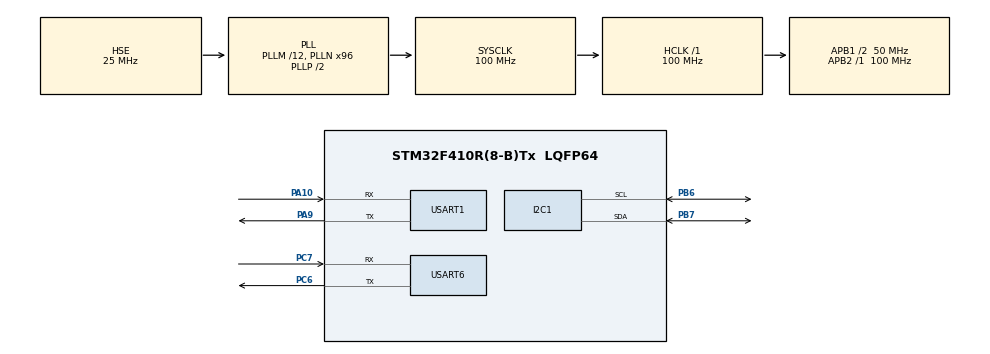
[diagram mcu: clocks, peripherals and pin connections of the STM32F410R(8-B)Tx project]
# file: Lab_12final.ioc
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Mcu.Family=STM32F4
Mcu.Name=STM32F410R(8-B)Tx
Mcu.Package=LQFP64
NVIC.PriorityGroup=NVIC_PRIORITYGROUP_4
PA10.Mode=Asynchronous
PA10.Signal=USART1_RX
PA13.Mode=Serial_Wire
PA13.Signal=SYS_JTMS-SWDIO
PA14.Mode=Serial_Wire
PA14.Signal=SYS_JTCK-SWCLK
PA9.Mode=Asynchronous
PA9.Signal=USART1_TX
PB6.GPIO_Pu=GPIO_PULLUP
PB6.Mode=I2C
PB6.Signal=I2C1_SCL
PB7.GPIO_Pu=GPIO_PULLUP
PB7.Mode=I2C
PB7.Signal=I2C1_SDA
PC6.Mode=Asynchronous
PC6.Signal=USART6_TX
PC7.Mode=Asynchronous
PC7.Signal=USART6_RX
PH0\ -\ OSC_IN.Mode=HSE-External-Clock-Source
PH0\ -\ OSC_IN.Signal=RCC_OSC_IN
PH1\ -\ OSC_OUT.Mode=HSE-External-Clock-Source
PH1\ -\ OSC_OUT.Signal=RCC_OSC_OUT
ProjectManager.HeapSize=0x200
ProjectManager.StackSize=0x400
ProjectManager.TargetToolchain=MDK-ARM V5.32
RCC.48MHZClocksFreq_Value=50000000
RCC.AHBFreq_Value=100000000
RCC.APB1CLKDivider=RCC_HCLK_DIV2
RCC.APB1Freq_Value=50000000
RCC.APB1TimFreq_Value=100000000
RCC.APB2Freq_Value=100000000
RCC.APB2TimFreq_Value=100000000
RCC.CortexFreq_Value=100000000
RCC.HCLKFreq_Value=100000000
RCC.HSE_VALUE=25000000
RCC.HSI_VALUE=16000000
RCC.LSE_VALUE=32768
RCC.PLLM=12
RCC.PLLN=96
RCC.PLLSourceVirtual=RCC_PLLSOURCE_HSE
RCC.SYSCLKFreq_VALUE=100000000
RCC.SYSCLKSource=RCC_SYSCLKSOURCE_PLLCLK
RCC.VCOOutputFreq_Value=200000000
USART1.VirtualMode=VM_ASYNC
USART6.VirtualMode=VM_ASYNC
board=custom

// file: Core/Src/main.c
/* USER CODE BEGIN Header */
/**
  ******************************************************************************
  * @file           : main.c
  * @brief          : Main program body
  ******************************************************************************
  * @attention
  *
  * Copyright (c) 2026 STMicroelectronics.
  * All rights reserved.
  *
  * This software is licensed under terms that can be found in the LICENSE file
  * in the root directory of this software component.
  * If no LICENSE file comes with this software, it is provided AS-IS.
  *
  ******************************************************************************
  */
/* USER CODE END Header */
#include "main.h"

/* USER CODE BEGIN Includes */

#include "bme280.h"
#include "bme280_defs.h"
#include <stdio.h>
#include <string.h>

/* USER CODE END Includes */

I2C_HandleTypeDef hi2c1;

UART_HandleTypeDef huart1;
UART_HandleTypeDef huart6;

/* USER CODE BEGIN PV */

struct bme280_dev bme;
struct bme280_data comp_data;
struct bme280_settings settings;

uint16_t bme_address;

HAL_StatusTypeDef test76, test77;
uint32_t error76, error77;
GPIO_PinState scl_level, sda_level;

/* USER CODE END PV */

void SystemClock_Config(void);
static void MX_GPIO_Init(void);
static void MX_I2C1_Init(void);
static void MX_USART1_UART_Init(void);
static void MX_USART6_UART_Init(void);

/* USER CODE BEGIN 0 */

int8_t user_i2c_read(uint8_t reg_addr,
                     uint8_t *reg_data,
                     uint32_t len,
                     void *intf_ptr)
{
    HAL_StatusTypeDef status;

    status = HAL_I2C_Mem_Read(&hi2c1,
                              bme_address,
                              reg_addr,
                              I2C_MEMADD_SIZE_8BIT,
                              reg_data,
                              (uint16_t)len,
                              1000);

    return (status == HAL_OK) ? 0 : -1;
}

int8_t user_i2c_write(uint8_t reg_addr,
                      const uint8_t *reg_data,
                      uint32_t len,
                      void *intf_ptr)
{
    HAL_StatusTypeDef status;

    status = HAL_I2C_Mem_Write(&hi2c1,
                               bme_address,
                               reg_addr,
                               I2C_MEMADD_SIZE_8BIT,
                               (uint8_t *)reg_data,
                               (uint16_t)len,
                               1000);

    return (status == HAL_OK) ? 0 : -1;
}

void user_delay_us(uint32_t period, void *intf_ptr)
{
    HAL_Delay((period + 999) / 1000);
}

int8_t BME280_Init(void)
{
    int8_t rslt;

    // Detect I2C address
    if (HAL_I2C_IsDeviceReady(&hi2c1,
                              0x76 << 1,
                              3,
                              100) == HAL_OK)
    {
        bme_address = 0x76 << 1;
    }
    else if (HAL_I2C_IsDeviceReady(&hi2c1,
                                   0x77 << 1,
                                   3,
                                   100) == HAL_OK)
    {
        bme_address = 0x77 << 1;
    }
    else
    {
        return -1;
    }

    // Configure Bosch API interface
    bme.intf = BME280_I2C_INTF;
    bme.read = user_i2c_read;
    bme.write = user_i2c_write;
    bme.delay_us = user_delay_us;
    bme.intf_ptr = NULL;

    // Initialize sensor and read calibration data
    rslt = bme280_init(&bme);

    if (rslt != BME280_OK)
        return rslt;

    // Configure oversampling
    settings.osr_t = BME280_OVERSAMPLING_2X;
    settings.osr_p = BME280_OVERSAMPLING_16X;
    settings.osr_h = BME280_OVERSAMPLING_1X;

    // Configure filter and standby
    settings.filter = BME280_FILTER_COEFF_16;
    settings.standby_time = BME280_STANDBY_TIME_1000_MS;

    // Write configuration
    rslt = bme280_set_sensor_settings(
        BME280_SEL_ALL_SETTINGS,
        &settings,
        &bme
    );

    if (rslt != BME280_OK)
        return rslt;

    // Normal operating mode
    rslt = bme280_set_sensor_mode(
        BME280_POWERMODE_NORMAL,
        &bme
    );

    return rslt;
}

int8_t BME280_Read(void)
{
    return bme280_get_sensor_data(
        BME280_ALL,
        &comp_data,
        &bme
    );
}

void BME280_Print(void)
{
    char msg[200];

    int32_t temp = comp_data.temperature;

    uint32_t pressure = comp_data.pressure;

    uint32_t humidity =
        ((uint64_t)comp_data.humidity * 100 + 512) / 1024;

    int32_t temp_frac = temp % 100;

    if (temp_frac < 0)
        temp_frac = -temp_frac;

    snprintf(msg, sizeof(msg),
        "Temperature: %s%ld.%02ld C\r\n"
        "Pressure: %lu.%02lu hPa\r\n"
        "Humidity: %lu.%02lu %%RH\r\n"
        "-----------------------------\r\n",

        temp < 0 ? "-" : "",
        (long)(temp < 0 ? -(temp / 100) : temp / 100),
        (long)temp_frac,

        (unsigned long)(pressure / 10000),
        (unsigned long)((pressure % 10000) / 100),

        (unsigned long)(humidity / 100),
        (unsigned long)(humidity % 100)
    );

    HAL_UART_Transmit(&huart1,
                      (uint8_t *)msg,
                      strlen(msg),
                      HAL_MAX_DELAY);
}

/* USER CODE END 0 */

int main(void)
{

  /* MCU Configuration--------------------------------------------------------*/

  /* Reset of all peripherals, Initializes the Flash interface and the Systick. */
  HAL_Init();

  /* Configure the system clock */
  SystemClock_Config();

  /* Initialize all configured peripherals */
  MX_GPIO_Init();
  MX_I2C1_Init();
	scl_level = HAL_GPIO_ReadPin(GPIOB, GPIO_PIN_6);
sda_level = HAL_GPIO_ReadPin(GPIOB, GPIO_PIN_7);

test76 = HAL_I2C_IsDeviceReady(&hi2c1, 0xEC, 3, 100);
error76 = HAL_I2C_GetError(&hi2c1);

test77 = HAL_I2C_IsDeviceReady(&hi2c1, 0xEE, 3, 100);
error77 = HAL_I2C_GetError(&hi2c1);

  MX_USART1_UART_Init();
  MX_USART6_UART_Init();
  /* USER CODE BEGIN 2 */

	int8_t status;

status = BME280_Init();

if (status == BME280_OK)
{
    char msg[] = "BME280 Initialization SUCCESS\r\n";

    HAL_UART_Transmit(&huart1,
                      (uint8_t *)msg,
                      strlen(msg),
                      HAL_MAX_DELAY);
}
else
{
    char msg[80];

    snprintf(msg, sizeof(msg),
             "BME280 Initialization FAILED: %d\r\n",
             status);

    HAL_UART_Transmit(&huart1,
                      (uint8_t *)msg,
                      strlen(msg),
                      HAL_MAX_DELAY);

    while (1);
}

  /* USER CODE END 2 */

  /* Infinite loop */
  while (1)
  {

    /* USER CODE BEGIN 3 */

		if (BME280_Read() == BME280_OK)
{
    BME280_Print();
}
else
{
    char msg[] = "Sensor Read Error\r\n";

    HAL_UART_Transmit(&huart1,
                      (uint8_t *)msg,
                      strlen(msg),
                      HAL_MAX_DELAY);
}

HAL_Delay(1000);
  }
  /* USER CODE END 3 */
}

void SystemClock_Config(void)
{
  RCC_OscInitTypeDef RCC_OscInitStruct = {0};
  RCC_ClkInitTypeDef RCC_ClkInitStruct = {0};

  /** Configure the main internal regulator output voltage
  */
  __HAL_RCC_PWR_CLK_ENABLE();
  __HAL_PWR_VOLTAGESCALING_CONFIG(PWR_REGULATOR_VOLTAGE_SCALE1);

  /** Initializes the RCC Oscillators according to the specified parameters
  * in the RCC_OscInitTypeDef structure.
  */
  RCC_OscInitStruct.OscillatorType = RCC_OSCILLATORTYPE_HSE;
  RCC_OscInitStruct.HSEState = RCC_HSE_BYPASS;
  RCC_OscInitStruct.PLL.PLLState = RCC_PLL_ON;
  RCC_OscInitStruct.PLL.PLLSource = RCC_PLLSOURCE_HSE;
  RCC_OscInitStruct.PLL.PLLM = 12;
  RCC_OscInitStruct.PLL.PLLN = 96;
  RCC_OscInitStruct.PLL.PLLP = RCC_PLLP_DIV2;
  RCC_OscInitStruct.PLL.PLLQ = 4;
  RCC_OscInitStruct.PLL.PLLR = 2;
  if (HAL_RCC_OscConfig(&RCC_OscInitStruct) != HAL_OK)
  {
    Error_Handler();
  }

  /** Initializes the CPU, AHB and APB buses clocks
  */
  RCC_ClkInitStruct.ClockType = RCC_CLOCKTYPE_HCLK|RCC_CLOCKTYPE_SYSCLK
                              |RCC_CLOCKTYPE_PCLK1|RCC_CLOCKTYPE_PCLK2;
  RCC_ClkInitStruct.SYSCLKSource = RCC_SYSCLKSOURCE_PLLCLK;
  RCC_ClkInitStruct.AHBCLKDivider = RCC_SYSCLK_DIV1;
  RCC_ClkInitStruct.APB1CLKDivider = RCC_HCLK_DIV2;
  RCC_ClkInitStruct.APB2CLKDivider = RCC_HCLK_DIV1;

  if (HAL_RCC_ClockConfig(&RCC_ClkInitStruct, FLASH_LATENCY_3) != HAL_OK)
  {
    Error_Handler();
  }
}

static void MX_I2C1_Init(void)
{

  hi2c1.Instance = I2C1;
  hi2c1.Init.ClockSpeed = 100000;
  hi2c1.Init.DutyCycle = I2C_DUTYCYCLE_2;
  hi2c1.Init.OwnAddress1 = 0;
  hi2c1.Init.AddressingMode = I2C_ADDRESSINGMODE_7BIT;
  hi2c1.Init.DualAddressMode = I2C_DUALADDRESS_DISABLE;
  hi2c1.Init.OwnAddress2 = 0;
  hi2c1.Init.GeneralCallMode = I2C_GENERALCALL_DISABLE;
  hi2c1.Init.NoStretchMode = I2C_NOSTRETCH_DISABLE;
  if (HAL_I2C_Init(&hi2c1) != HAL_OK)
  {
    Error_Handler();
  }

}

static void MX_USART1_UART_Init(void)
{

  huart1.Instance = USART1;
  huart1.Init.BaudRate = 115200;
  huart1.Init.WordLength = UART_WORDLENGTH_8B;
  huart1.Init.StopBits = UART_STOPBITS_1;
  huart1.Init.Parity = UART_PARITY_NONE;
  huart1.Init.Mode = UART_MODE_TX_RX;
  huart1.Init.HwFlowCtl = UART_HWCONTROL_NONE;
  huart1.Init.OverSampling = UART_OVERSAMPLING_16;
  if (HAL_UART_Init(&huart1) != HAL_OK)
  {
    Error_Handler();
  }

}

static void MX_USART6_UART_Init(void)
{

  huart6.Instance = USART6;
  huart6.Init.BaudRate = 115200;
  huart6.Init.WordLength = UART_WORDLENGTH_8B;
  huart6.Init.StopBits = UART_STOPBITS_1;
  huart6.Init.Parity = UART_PARITY_NONE;
  huart6.Init.Mode = UART_MODE_TX_RX;
  huart6.Init.HwFlowCtl = UART_HWCONTROL_NONE;
  huart6.Init.OverSampling = UART_OVERSAMPLING_16;
  if (HAL_UART_Init(&huart6) != HAL_OK)
  {
    Error_Handler();
  }

}

static void MX_GPIO_Init(void)
{

  /* GPIO Ports Clock Enable */
  __HAL_RCC_GPIOH_CLK_ENABLE();
  __HAL_RCC_GPIOC_CLK_ENABLE();
  __HAL_RCC_GPIOA_CLK_ENABLE();
  __HAL_RCC_GPIOB_CLK_ENABLE();

}

void Error_Handler(void)
{
  __disable_irq();
  while (1)
  {
  }
}
